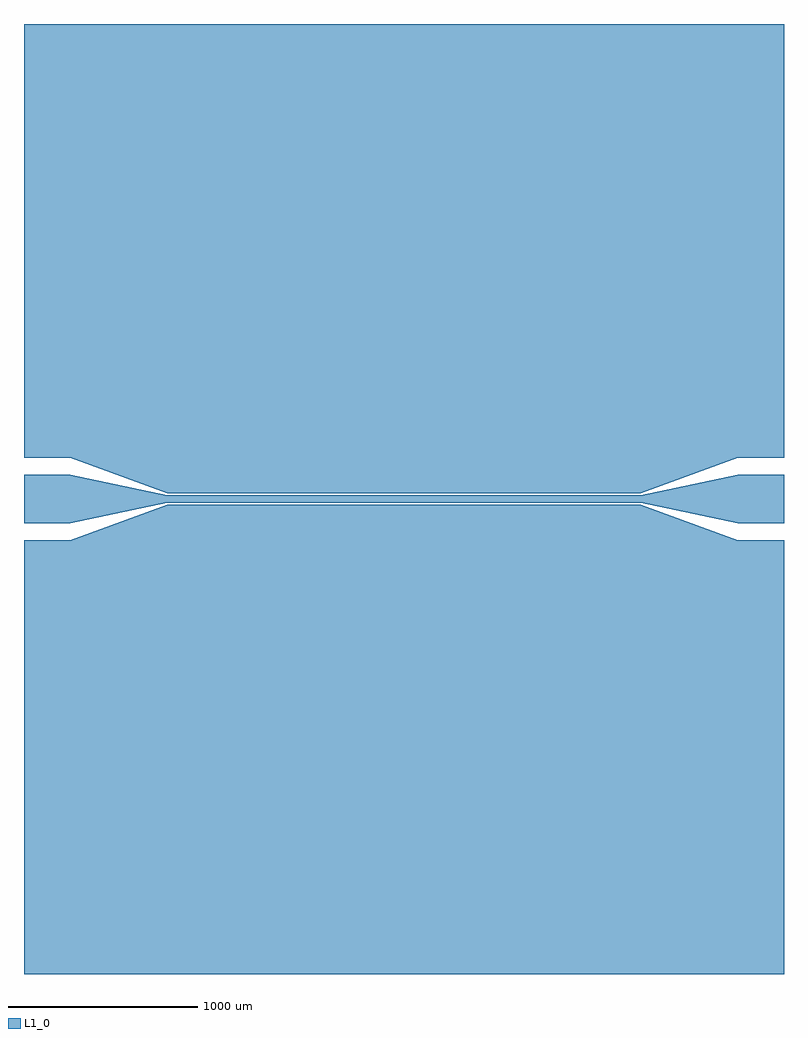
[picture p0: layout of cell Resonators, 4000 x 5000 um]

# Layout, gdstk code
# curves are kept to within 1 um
import gdstk
lib = gdstk.Library(unit=1e-6, precision=1e-06)
def R(c, l, rs):  # rectangles x0, y0, x1, y1
    for r in rs: c.add(gdstk.rectangle(r[:2], r[2:], *l))
def P(c, l, *ps):  # polygons
    for p in ps: c.add(gdstk.Polygon(p, *l))
L1_0 = (1, 0)

resonators = lib.new_cell('Resonators')
R(resonators, L1_0, [(419,1094,478,1124)])
P(resonators, L1_0, [(-2000,-127),(-2000,127),(-1756,127),(-1246,20),(1246,20),(1756,127),(2000,127),(2000,-127),(1756,-127),(1246,-20),(-1246,-20),(-1756,-127)],
  [(-2000,-2500),(-2000,-217),(-1756,-217),(-1246,-30),(1246,-30),(1756,-217),(2000,-217),(2000,-2500)],
  [(-1246,30),(-1756,217),(-2000,217),(-2000,2500),(2000,2500),(2000,217),(1756,217),(1246,30)],
  [(-859,-2090),(-893,-2085),(-909,-2080),(-940,-2065),(-968,-2045),(-980,-2033),(-991,-2019),(-1008,-1990),(-1020,-1958),(-1025,-1924),(-1025,-207),(-1020,-173),(-1015,-157),(-1000,-125),(-991,-111),(-980,-98),(-954,-74),(-940,-65),(-908,-50),(-892,-45),(-858,-40),(-446,-40),(-439,-42),(-433,-46),(-427,-54),(-425,-61),(-426,-73),(-431,-82),(-439,-88),(-446,-90),(-857,-90),(-869,-91),(-893,-97),(-925,-114),(-951,-140),(-968,-172),(-974,-196),(-975,-1922),(-974,-1934),(-968,-1958),(-963,-1969),(-951,-1990),(-925,-2016),(-893,-2033),(-869,-2039),(-831,-2039),(-807,-2033),(-775,-2016),(-749,-1990),(-732,-1958),(-726,-1934),(-725,-706),(-720,-672),(-715,-656),(-700,-625),(-680,-597),(-668,-585),(-640,-565),(-609,-550),(-593,-545),(-559,-540),(-541,-540),(-524,-542),(-507,-545),(-475,-557),(-446,-574),(-432,-585),(-420,-597),(-400,-625),(-385,-656),(-380,-672),(-375,-706),(-375,-1469),(-377,-1476),(-383,-1484),(-392,-1489),(-404,-1490),(-411,-1488),(-417,-1484),(-423,-1476),(-425,-1469),(-425,-708),(-426,-696),(-432,-672),(-449,-640),(-475,-614),(-507,-597),(-531,-591),(-543,-590),(-569,-591),(-593,-597),(-625,-614),(-651,-640),(-668,-672),(-674,-696),(-675,-708),(-675,-1924),(-677,-1941),(-680,-1958),(-692,-1990),(-709,-2019),(-720,-2033),(-732,-2045),(-760,-2065),(-791,-2080),(-807,-2085),(-824,-2088),(-841,-2090)],
  [(641,-2090),(607,-2085),(591,-2080),(560,-2065),(532,-2045),(520,-2033),(509,-2019),(492,-1990),(480,-1958),(475,-1924),(475,-207),(480,-173),(485,-157),(500,-125),(509,-111),(520,-98),(546,-74),(560,-65),(592,-50),(608,-45),(642,-40),(1054,-40),(1061,-42),(1067,-46),(1073,-54),(1075,-61),(1074,-73),(1069,-82),(1061,-88),(1054,-90),(643,-90),(631,-91),(607,-97),(575,-114),(549,-140),(532,-172),(526,-196),(525,-1922),(526,-1934),(532,-1958),(537,-1969),(549,-1990),(575,-2016),(607,-2033),(631,-2039),(669,-2039),(693,-2033),(725,-2016),(751,-1990),(768,-1958),(774,-1934),(775,-706),(780,-672),(785,-656),(800,-625),(820,-597),(832,-585),(860,-565),(891,-550),(907,-545),(941,-540),(959,-540),(976,-542),(993,-545),(1025,-557),(1054,-574),(1068,-585),(1080,-597),(1100,-625),(1115,-656),(1120,-672),(1125,-706),(1125,-1344),(1123,-1351),(1117,-1359),(1108,-1364),(1096,-1365),(1089,-1363),(1083,-1359),(1077,-1351),(1075,-1344),(1075,-708),(1074,-696),(1068,-672),(1051,-640),(1025,-614),(993,-597),(969,-591),(957,-590),(931,-591),(907,-597),(875,-614),(849,-640),(832,-672),(826,-696),(825,-708),(825,-1924),(823,-1941),(820,-1958),(808,-1990),(791,-2019),(780,-2033),(768,-2045),(740,-2065),(709,-2080),(693,-2085),(676,-2088),(659,-2090)],
  [(-1004,40),(-1011,42),(-1017,46),(-1023,54),(-1025,61),(-1024,73),(-1019,82),(-1011,88),(-1004,90),(-593,90),(-581,91),(-557,97),(-525,114),(-499,140),(-482,172),(-476,196),(-475,1922),(-476,1934),(-482,1958),(-487,1969),(-499,1990),(-525,2016),(-557,2033),(-581,2039),(-619,2039),(-643,2033),(-675,2016),(-701,1990),(-718,1958),(-724,1934),(-725,706),(-730,672),(-735,656),(-750,625),(-770,597),(-782,585),(-810,565),(-841,550),(-857,545),(-891,540),(-909,540),(-926,542),(-943,545),(-975,557),(-1004,574),(-1018,585),(-1030,597),(-1050,625),(-1065,656),(-1070,672),(-1075,706),(-1075,1219),(-1073,1226),(-1067,1234),(-1058,1239),(-1046,1240),(-1039,1238),(-1033,1234),(-1027,1226),(-1025,1219),(-1025,708),(-1024,696),(-1018,672),(-1013,661),(-1001,640),(-993,631),(-975,614),(-965,608),(-943,597),(-919,591),(-893,590),(-881,591),(-857,597),(-825,614),(-799,640),(-782,672),(-776,696),(-775,708),(-775,1924),(-773,1941),(-770,1958),(-765,1974),(-750,2005),(-730,2033),(-718,2045),(-704,2056),(-675,2073),(-643,2085),(-609,2090),(-591,2090),(-557,2085),(-541,2080),(-510,2065),(-482,2045),(-470,2033),(-450,2005),(-435,1974),(-430,1958),(-425,1924),(-425,207),(-430,173),(-435,157),(-450,125),(-459,111),(-470,98),(-496,74),(-510,65),(-542,50),(-558,45),(-592,40)],
  [(496,40),(489,42),(483,46),(477,54),(475,61),(476,73),(481,82),(489,88),(496,90),(907,90),(919,91),(943,97),(975,114),(1001,140),(1018,172),(1024,196),(1025,1922),(1024,1934),(1018,1958),(1013,1969),(1001,1990),(975,2016),(943,2033),(919,2039),(881,2039),(857,2033),(825,2016),(799,1990),(782,1958),(776,1934),(775,706),(770,672),(765,656),(750,625),(730,597),(718,585),(690,565),(659,550),(643,545),(609,540),(591,540),(574,542),(557,545),(525,557),(496,574),(482,585),(470,597),(450,625),(435,656),(430,672),(425,706),(425,1094),(427,1101),(433,1109),(442,1114),(454,1115),(461,1113),(467,1109),(473,1101),(475,1094),(475,708),(476,696),(482,672),(493,650),(499,640),(516,622),(525,614),(546,602),(557,597),(581,591),(619,591),(643,597),(675,614),(701,640),(718,672),(724,696),(725,708),(725,1924),(727,1941),(730,1958),(735,1974),(750,2005),(770,2033),(782,2045),(796,2056),(825,2073),(857,2085),(891,2090),(909,2090),(943,2085),(959,2080),(990,2065),(1018,2045),(1030,2033),(1050,2005),(1065,1974),(1070,1958),(1075,1924),(1075,207),(1070,173),(1065,157),(1050,125),(1041,111),(1030,98),(1004,74),(990,65),(958,50),(942,45),(908,40)],
  [(-858,-2080),(-906,-2071),(-935,-2057),(-961,-2037),(-983,-2013),(-992,-2000),(-999,-1986),(-1006,-1971),(-1015,-1923),(-1015,-208),(-1010,-176),(-1005,-160),(-992,-131),(-972,-104),(-961,-93),(-934,-73),(-920,-66),(-889,-55),(-857,-50),(-446,-50),(-442,-52),(-435,-61),(-435,-69),(-437,-73),(-446,-80),(-858,-80),(-884,-84),(-920,-99),(-931,-106),(-950,-124),(-959,-134),(-972,-157),(-981,-181),(-984,-194),(-985,-1923),(-981,-1949),(-966,-1985),(-959,-1996),(-931,-2024),(-908,-2037),(-884,-2046),(-871,-2049),(-829,-2049),(-804,-2042),(-780,-2031),(-769,-2024),(-741,-1996),(-728,-1973),(-719,-1949),(-716,-1936),(-715,-707),(-706,-659),(-692,-630),(-683,-617),(-661,-593),(-635,-573),(-606,-559),(-590,-555),(-558,-550),(-526,-552),(-494,-559),(-465,-573),(-452,-582),(-428,-604),(-408,-630),(-394,-659),(-385,-707),(-385,-1484),(-392,-1493),(-396,-1495),(-404,-1495),(-408,-1493),(-415,-1484),(-415,-707),(-419,-681),(-428,-657),(-441,-634),(-469,-606),(-480,-599),(-504,-588),(-529,-581),(-542,-580),(-571,-581),(-584,-584),(-608,-593),(-631,-606),(-659,-634),(-666,-645),(-677,-669),(-684,-694),(-685,-707),(-685,-1923),(-687,-1939),(-694,-1971),(-708,-2000),(-728,-2026),(-752,-2048),(-765,-2057),(-794,-2071),(-826,-2078)],
  [(642,-2080),(594,-2071),(565,-2057),(539,-2037),(517,-2013),(508,-2000),(501,-1986),(494,-1971),(485,-1923),(485,-208),(490,-176),(495,-160),(508,-131),(528,-104),(539,-93),(566,-73),(580,-66),(611,-55),(643,-50),(1054,-50),(1058,-52),(1065,-61),(1065,-69),(1063,-73),(1054,-80),(642,-80),(616,-84),(580,-99),(569,-106),(550,-124),(541,-134),(528,-157),(519,-181),(516,-194),(515,-1923),(519,-1949),(534,-1985),(541,-1996),(569,-2024),(592,-2037),(616,-2046),(629,-2049),(671,-2049),(696,-2042),(720,-2031),(731,-2024),(759,-1996),(772,-1973),(781,-1949),(784,-1936),(785,-707),(794,-659),(808,-630),(817,-617),(839,-593),(865,-573),(894,-559),(910,-555),(942,-550),(974,-552),(1006,-559),(1035,-573),(1048,-582),(1072,-604),(1092,-630),(1106,-659),(1115,-707),(1115,-1359),(1108,-1368),(1104,-1370),(1096,-1370),(1092,-1368),(1085,-1359),(1085,-707),(1084,-694),(1077,-669),(1066,-645),(1059,-634),(1031,-606),(1020,-599),(996,-588),(971,-581),(958,-580),(929,-581),(916,-584),(892,-593),(869,-606),(841,-634),(834,-645),(823,-669),(816,-694),(815,-707),(815,-1923),(813,-1939),(806,-1971),(792,-2000),(772,-2026),(748,-2048),(735,-2057),(706,-2071),(674,-2078)],
  [(-1004,50),(-1008,52),(-1015,61),(-1015,69),(-1013,73),(-1004,80),(-592,80),(-566,84),(-530,99),(-519,106),(-500,124),(-491,134),(-478,157),(-469,181),(-466,194),(-465,1923),(-469,1949),(-484,1985),(-491,1996),(-519,2024),(-542,2037),(-566,2046),(-579,2049),(-621,2049),(-646,2042),(-670,2031),(-681,2024),(-709,1996),(-722,1973),(-731,1949),(-734,1936),(-735,707),(-744,659),(-758,630),(-767,617),(-789,593),(-815,573),(-844,559),(-860,555),(-892,550),(-924,552),(-956,559),(-985,573),(-998,582),(-1022,604),(-1042,630),(-1056,659),(-1065,707),(-1065,1234),(-1058,1243),(-1054,1245),(-1046,1245),(-1042,1243),(-1035,1234),(-1035,707),(-1031,681),(-1022,657),(-1009,634),(-981,606),(-970,599),(-934,584),(-921,581),(-892,580),(-879,581),(-854,588),(-830,599),(-819,606),(-791,634),(-784,645),(-773,669),(-766,694),(-765,707),(-765,1923),(-763,1939),(-756,1971),(-742,2000),(-722,2026),(-698,2048),(-685,2057),(-656,2071),(-624,2078),(-592,2080),(-560,2075),(-544,2071),(-515,2057),(-489,2037),(-467,2013),(-458,2000),(-444,1971),(-435,1923),(-435,208),(-440,176),(-445,160),(-458,131),(-478,104),(-489,93),(-516,73),(-530,66),(-561,55),(-593,50)],
  [(496,50),(492,52),(485,61),(485,69),(487,73),(496,80),(908,80),(934,84),(970,99),(981,106),(1000,124),(1009,134),(1022,157),(1031,181),(1034,194),(1035,1923),(1031,1949),(1016,1985),(1009,1996),(981,2024),(958,2037),(934,2046),(921,2049),(879,2049),(854,2042),(830,2031),(819,2024),(791,1996),(778,1973),(769,1949),(766,1936),(765,707),(756,659),(742,630),(733,617),(711,593),(685,573),(656,559),(640,555),(608,550),(576,552),(544,559),(515,573),(502,582),(478,604),(458,630),(444,659),(435,707),(435,1109),(442,1118),(446,1120),(454,1120),(458,1118),(465,1109),(465,707),(469,681),(484,645),(491,634),(519,606),(542,593),(566,584),(579,581),(621,581),(646,588),(670,599),(681,606),(709,634),(716,645),(727,669),(734,694),(735,707),(735,1923),(737,1939),(744,1971),(758,2000),(778,2026),(802,2048),(815,2057),(844,2071),(876,2078),(908,2080),(940,2075),(956,2071),(985,2057),(1011,2037),(1033,2013),(1042,2000),(1056,1971),(1065,1923),(1065,208),(1060,176),(1055,160),(1042,131),(1022,104),(1011,93),(984,73),(970,66),(939,55),(907,50)])

lib.write_gds('Resonators.gds')
